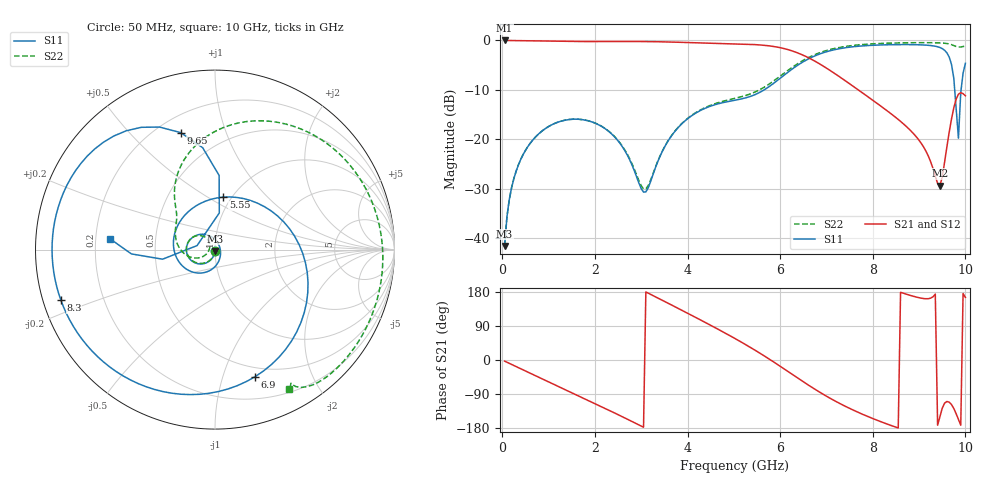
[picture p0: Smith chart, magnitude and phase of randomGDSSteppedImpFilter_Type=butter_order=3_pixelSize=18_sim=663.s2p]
! freq	dB(S11)	phase(S11)	dB(S12)	phase(S12)
!  dB(S21)	phase(S21)	dB(S22)	phase(S22)
!S-par simulation data
#  GHz  S  DB  R 50
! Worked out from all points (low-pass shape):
!   200 points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, 50 MHz to 10 GHz, reference 50 ohm
!   highest |S21| = -0.01 dB at 50 MHz (marker M1); lowest = -29.4 dB at 9.45 GHz (marker M2)
!   |S21| within 3 dB of the highest: start of sweep to 6.5 GHz
!   lowest |S11| = -41.7 dB at 50 MHz (marker M3), VSWR 1.02, Z = 50 - j0.826 ohm
!   |S11| at or under -10 dB: start of sweep to 5.657 GHz; 9.769 GHz to 9.907 GHz (137.8 MHz wide, 1.4 % of centre)
!   |S22| runs from -41.7 to -0.5 dB; largest |S21 - S12| = 0
!   S11 on the Smith chart (normalised r, x): 50 MHz: 1.00, -0.02; 5.55 GHz: 0.92, +0.59; 6.9 GHz: 0.41, -1.28; 8.3 GHz: 0.05, -0.16; 9.65 GHz: 0.29, +0.71; 10 GHz: 0.26, +0.05
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0.05  -41.65 -92.0  -0.01 -3.0  -0.01 -3.0  -41.67 -92.4
0.2  -29.85 -101.1  -0.02 -11.7  -0.02 -11.7  -29.86 -101.7
0.5  -22.28 -118.6  -0.07 -29.0  -0.07 -29.0  -22.27 -120.2
1.75  -16.08 170.0  -0.23 -100.5  -0.23 -100.5  -16.06 167.7
2.5  -20.35 119.9  -0.21 -144.2  -0.21 -144.2  -20.26 130.9
3.05  -30.72 22.3  -0.22 -177.4  -0.22 -177.4  -30.07 160.7
3.4  -23.60 -71.0  -0.27 161.0  -0.27 161.0  -23.52 -150.2
4.25  -14.33 -145.2  -0.50 107.6  -0.50 107.6  -14.21 179.0
5.05  -12.06 142.5  -0.70 55.0  -0.70 55.0  -11.67 146.0
5.55  -10.57 81.0  -0.91 18.9  -0.91 18.9  -10.03 133.7
6.25  -5.87 -8.2  -2.09 -37.0  -2.09 -37.0  -5.51 108.8
6.7  -3.34 -54.7  -3.94 -73.3  -3.94 -73.3  -3.07 82.4
6.9  -2.59 -72.5  -5.02 -88.3  -5.02 -88.3  -2.33 69.9
7.5  -1.36 -116.7  -8.78 -127.7  -8.78 -127.7  -1.10 34.7
8.3  -0.88 -161.9  -14.18 -168.6  -14.18 -168.6  -0.57 -3.9
8.35  -0.87 -164.4  -14.53 -170.8  -14.53 -170.8  -0.55 -6.0
9.45  -1.44 131.7  -29.39 -149.9  -29.39 -149.9  -0.50 -48.3
9.65  -3.36 106.4  -18.60 -111.2  -18.60 -111.2  -0.72 -56.0
9.75  -7.67 86.8  -13.62 -127.9  -13.62 -127.9  -1.04 -59.4
9.85  -19.80 167.4  -10.89 -157.2  -10.89 -157.2  -1.34 -60.4
9.9  -10.55 -169.6  -10.59 -172.1  -10.59 -172.1  -1.34 -60.4
10  -4.64 174.2  -11.21 165.1  -11.21 165.1  -1.14 -62.0
